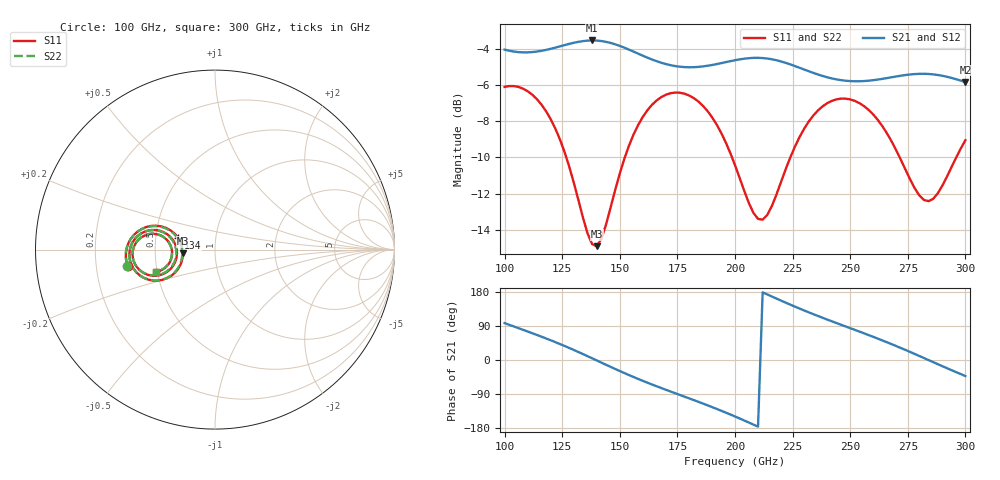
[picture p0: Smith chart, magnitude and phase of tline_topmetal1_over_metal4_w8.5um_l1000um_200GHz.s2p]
#  GHZ S DB R 50
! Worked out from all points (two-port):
!   101 points, 100 GHz to 300 GHz, reference 50 ohm
!   highest |S21| = -3.53 dB at 138 GHz (marker M1); lowest = -5.8 dB at 300 GHz (marker M2)
!   |S21| within 3 dB of the highest: start of sweep to end of sweep
!   lowest |S11| = -14.9 dB at 140 GHz (marker M3), VSWR 1.44, Z = 34.8 - j1.45 ohm
!   |S11| at or under -10 dB: 126.8 GHz to 152.2 GHz (25.41 GHz wide, 18.2 % of centre); 198.7 GHz to 224 GHz (25.31 GHz wide, 12 % of centre); 271.5 GHz to 296 GHz (24.53 GHz wide, 8.65 % of centre)
!   |S22| runs from -14.8 to -6.0 dB; largest |S21 - S12| = 1.1e-13
!   S11 on the Smith chart (normalised r, x): 100 GHz: 0.34, -0.08; 134 GHz: 0.65, +0.09; 300 GHz: 0.49, -0.14
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100  -6.10 -169.6  -4.03 97.4  -4.03 97.4  -6.09 -169.4
108  -6.19 178.2  -4.19 79.7  -4.19 79.7  -6.18 178.4
118  -7.44 164.3  -4.05 56.9  -4.05 56.9  -7.43 164.6
126  -9.69 156.7  -3.78 37.1  -3.78 37.1  -9.66 157.1
134  -13.33 162.3  -3.56 15.7  -3.56 15.7  -13.22 162.8
138  -14.80 176.8  -3.53 4.5  -3.53 4.5  -14.64 177.1
140  -14.91 -173.5  -3.53 -1.2  -3.53 -1.2  -14.75 -173.5
146  -12.77 -152.6  -3.66 -18.1  -3.66 -18.1  -12.68 -153.0
154  -9.34 -150.2  -4.03 -39.8  -4.03 -39.8  -9.30 -150.6
168  -6.66 -166.3  -4.76 -74.0  -4.76 -74.0  -6.64 -166.4
176  -6.42 -177.0  -4.98 -92.1  -4.98 -92.1  -6.40 -177.0
186  -7.13 170.5  -4.96 -114.7  -4.96 -114.7  -7.11 170.6
200  -10.43 161.3  -4.62 -149.0  -4.62 -149.0  -10.36 161.6
212  -13.44 -174.3  -4.50 178.6  -4.50 178.6  -13.30 -174.5
224  -10.00 -154.7  -4.85 146.1  -4.85 146.1  -9.94 -155.3
234  -7.68 -161.1  -5.32 121.0  -5.32 121.0  -7.65 -161.5
252  -6.87 178.7  -5.78 79.5  -5.78 79.5  -6.85 178.4
268  -9.12 165.5  -5.56 41.7  -5.56 41.7  -9.10 165.3
276  -11.21 168.4  -5.41 21.2  -5.41 21.2  -11.19 168.2
284  -12.42 -176.0  -5.38 -0.2  -5.38 -0.2  -12.39 -176.3
292  -11.06 -161.4  -5.54 -21.6  -5.54 -21.6  -11.04 -161.7
300  -9.05 -159.4  -5.83 -42.3  -5.83 -42.3  -9.04 -159.7
